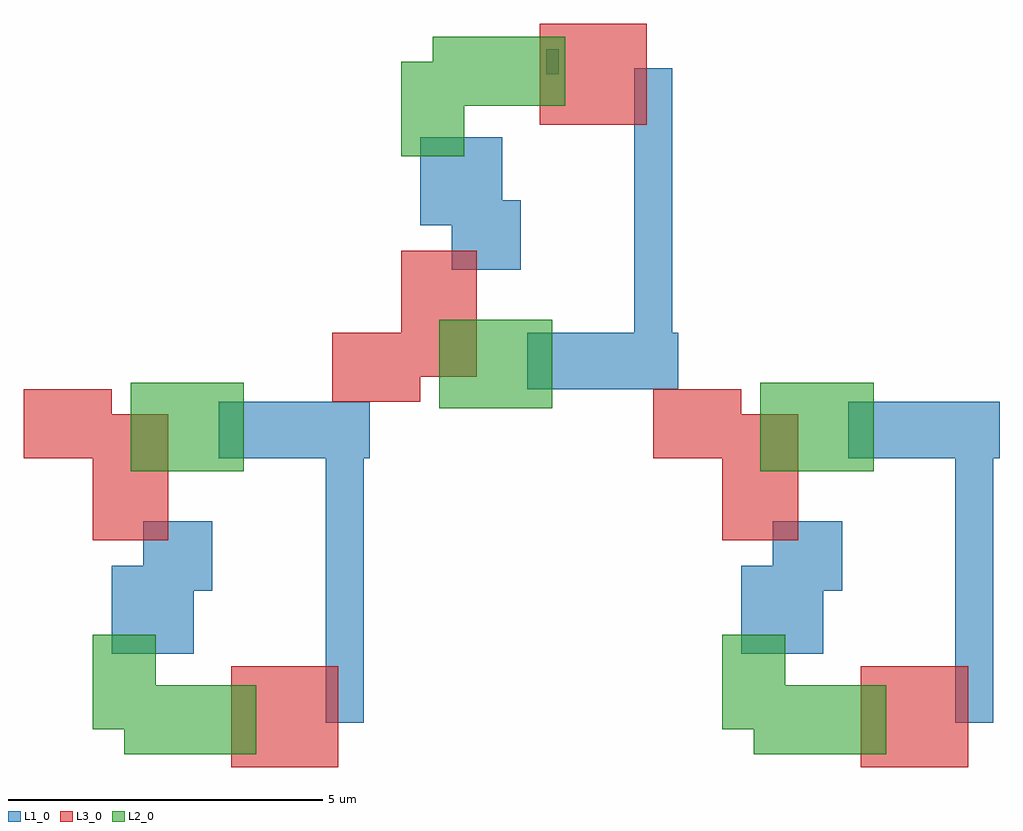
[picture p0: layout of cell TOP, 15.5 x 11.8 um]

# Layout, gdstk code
from math import pi, radians
import gdstk
lib = gdstk.Library(unit=1e-6, precision=1e-09)
def R(c, l, rs):  # rectangles x0, y0, x1, y1
    for r in rs: c.add(gdstk.rectangle(r[:2], r[2:], *l))
L1_0 = (1, 0)
L2_0 = (2, 0)
L3_0 = (3, 0)

conn = lib.new_cell('CONN')
R(conn, L1_0, [(0,0,0.2,0.4)])

c_c1 = lib.new_cell('C1')
R(c_c1, L1_0, [(-2.7,-3.3,-1.8,-0.9), (-2.1,-3.2,2.4,-2.6), (-0.8,-0.8,0.3,0.3), (-0.1,-0.5,1.3,0.8)])
R(c_c1, L2_0, [(1.8,-1.5,2.9,0.6), (-3,-1.3,-1.6,0.5), (1,0.1,2.5,1.1)])
R(c_c1, L3_0, [(1.5,-2.8,3.1,-1.1), (-2.5,-0.1,-0.5,1.1), (-2.9,0.8,-1.8,2.2)])

top = lib.new_cell('TOP')
top.add(gdstk.Reference(conn, (40.3,5.8)))
top.add(gdstk.Reference(c_c1, (34.2,-2.1), rotation=3*pi/2, x_reflection=True))
top.add(gdstk.Reference(c_c1, (44.2,-2.1), rotation=3*pi/2, x_reflection=True))
top.add(gdstk.Reference(c_c1, (39.1,3.5), rotation=pi/2))

lib.write_gds('TOP.gds')
